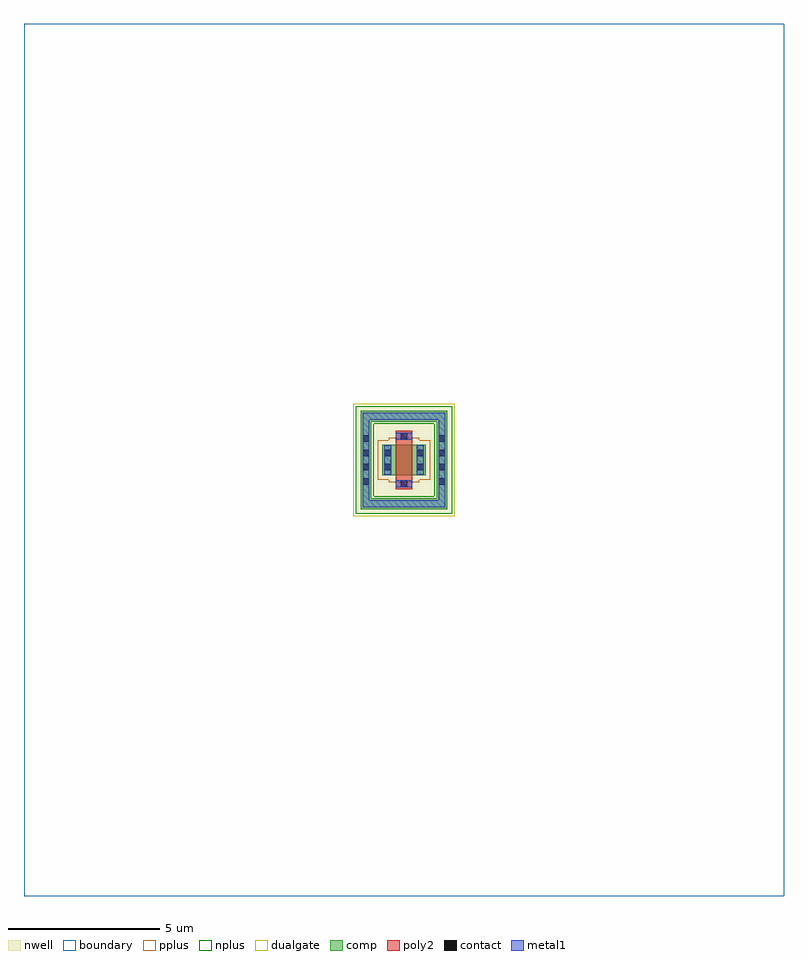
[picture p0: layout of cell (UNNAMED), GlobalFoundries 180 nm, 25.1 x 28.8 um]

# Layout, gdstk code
import gdstk
lib = gdstk.Library(unit=1e-6, precision=1e-09)
def R(c, l, rs):  # rectangles x0, y0, x1, y1
    for r in rs: c.add(gdstk.rectangle(r[:2], r[2:], *l))
def A(c, l, x, y, w, h, nx, ny, dx, dy):  # array of equal rectangles
    R(c, l, [(x+i*dx, y+j*dy, x+i*dx+w, y+j*dy+h) for i in range(nx) for j in range(ny)])
boundary = (0, 0)
nwell = (21, 0)
comp = (22, 0)
poly2 = (30, 0)
pplus = (31, 0)
nplus = (32, 0)
contact = (33, 0)
metal1 = (34, 0)
dualgate = (55, 0)

c__unnamed_ = lib.new_cell('(UNNAMED)')
R(c__unnamed_, boundary, [(-12.55,-14.4,12.55,14.4)])
R(c__unnamed_, nwell, [(-1.595,-1.78,1.595,1.78)])
R(c__unnamed_, comp, [(-1.435,-1.62,1.435,-1.26), (-1.435,-1.26,-1.075,1.26), (1.075,-1.26,1.435,1.26), (-0.715,-0.5,0.715,0.5), (-1.435,1.26,1.435,1.62)])
R(c__unnamed_, poly2, [(-0.275,-0.96,0.275,0.96)])
R(c__unnamed_, pplus, [(-0.505,-0.73,0.505,-0.66), (-0.875,-0.66,0.875,0.66), (-0.505,0.66,0.505,0.73)])
R(c__unnamed_, nplus, [(-1.595,-1.78,1.595,-1.19), (-1.595,-1.19,-1.005,1.19), (1.005,-1.19,1.595,1.19), (-1.595,1.19,1.595,1.78)])
A(c__unnamed_, contact, -1.365, -0.815, 0.22, 0.22, 1, 4, 0, 0.47)
A(c__unnamed_, contact, 1.145, -0.815, 0.22, 0.22, 1, 4, 0, 0.47)
R(c__unnamed_, contact, [(-0.11,-0.89,0.11,-0.67), (-0.645,-0.345,-0.425,-0.125), (0.425,-0.345,0.645,-0.125), (-0.645,0.125,-0.425,0.345), (0.425,0.125,0.645,0.345), (-0.11,0.67,0.11,0.89)])
R(c__unnamed_, metal1, [(-1.37,-1.555,1.37,-1.325), (-1.37,-1.325,-1.14,1.325), (1.14,-1.325,1.37,1.325), (-0.265,-0.895,0.265,-0.665), (-0.65,-0.49,-0.42,0.49), (0.42,-0.49,0.65,0.49), (-0.265,0.665,0.265,0.895), (-1.37,1.325,1.37,1.555)])
R(c__unnamed_, dualgate, [(-1.675,-1.86,1.675,1.86)])

lib.write_gds('_UNNAMED_.gds')
